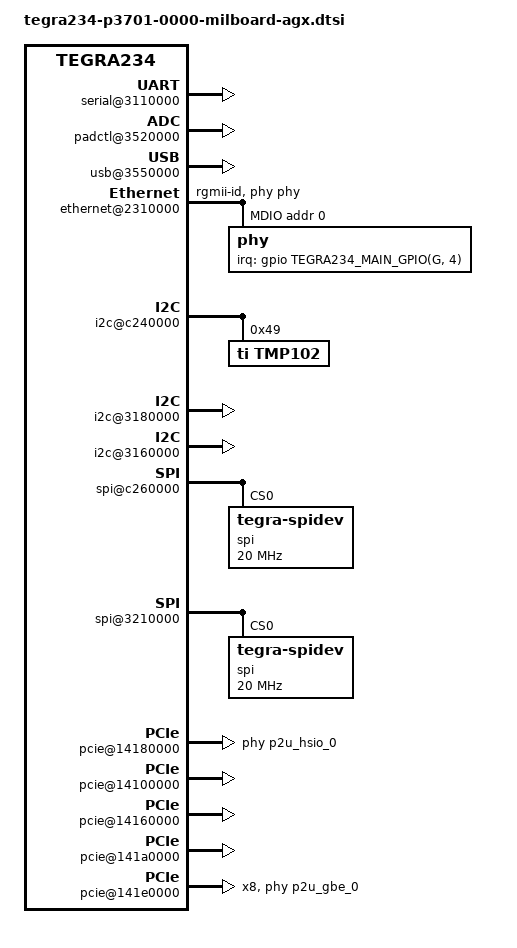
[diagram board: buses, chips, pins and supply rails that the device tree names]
// SPDX-License-Identifier: GPL-2.0

#include <dt-bindings/input/linux-event-codes.h>
#include <dt-bindings/input/gpio-keys.h>

/ {
	regulator-vdd-3v3-pcie {
		gpio = <&gpio TEGRA234_MAIN_GPIO(H, 4) 0>;
		/delete-property/ regulator-boot-on;
	};
	regulator-vdd-12v-pcie {
		/delete-property/ regulator-boot-on;
	};
	regulator@3 {
		regulator-boot-on;
	};

	bus@0 {
		serial@3110000 {
			status = "okay";
			reset-names = "serial";
			clock-names = "serial";
		};

		padctl@3520000 {
			status = "okay";

			ports {
				usb2-0 {
					status = "okay";
					vbus-supply = <&vdd_5v0_sys>;
					mode = "otg";
					usb-role-switch;
					/delete-node/ port;
					connector {
						compatible = "usb-b-connector", "gpio-usb-b-connector";
						label = "micro-USB";
						type = "micro";
						vbus-gpios = <&gpio TEGRA234_MAIN_GPIO(Z, 1) GPIO_ACTIVE_LOW>;
					};
				};

				usb2-1 {
					/delete-node/ port;
				};

				usb3-0 {
					nvidia,usb2-companion = <1>;
					status = "okay";
					/delete-node/ port;
				};

				usb3-1 {
					nvidia,usb2-companion = <0>;
					status = "okay";
					/delete-node/ port;
				};

				usb3-2 {
					nvidia,usb2-companion = <3>;
					status = "okay";
				};
			};
		};

		usb@3550000 {
			status = "okay";
			phys = <&{/bus@0/padctl@3520000/pads/usb2/lanes/usb2-0}>,
			       <&{/bus@0/padctl@3520000/pads/usb3/lanes/usb3-1}>;
			phy-names = "usb2-0", "usb3-1";
		};

		ethernet@6800000 {
			status = "disabled";
		};
		//ethernet@6900000 // already disabled
		//ethernet@6a00000 // already disabled
		//ethernet@6b00000 // already disabled

		ethernet@2310000 { //EQOS
			status = "okay";

			nvidia,mac-addr-idx = <0>;
			nvidia,pause_frames = <1>;
			local-mac-address = [1a 2b 3c 4d 5e 6f];
			nvidia,phy-reset-gpio = <&gpio TEGRA234_MAIN_GPIO(G, 5) 0>;
			phy-mode = "rgmii-id";
			phy-handle = <&phy>;
			nvidia,max-platform-mtu = <16383>; //8000

			mdio {
				compatible = "nvidia,eqos-mdio";
				#address-cells = <1>;
				#size-cells = <0>;

				phy: phy@0 {
					reg = <0>;
					nvidia,phy-rst-pdelay-msec = <224>; /* msec */
					nvidia,phy-rst-duration-usec = <10000>; /* usec */
					interrupt-parent = <&gpio>;
					interrupts = <TEGRA234_MAIN_GPIO(G, 4) IRQ_TYPE_LEVEL_LOW>;
					marvell,copper-mode;
					/* Setup LED[2] as interrupt pin (active low) */
					marvell,reg-init = <0x03 0x12 0x7fff 0x880>;
				};
			};
		};

		i2c@c240000 {
			status = "okay";

			/delete-node/ typec@8;

			tmp102: tmp102@49 { // Temperature Sensor
				compatible = "ti,tmp102";
				reg = <0x49>;
				#thermal-sensor-cells = <0>;
			};
		};

		i2c@3180000 { // Goes to panelboard - before rev 1.21
			status = "okay";
		};

		i2c@3160000 { // Goes to panelboard - since rev-1.21
			status = "okay";
		};

		spi@c260000 { // Goes to panelboard - before rev 1.21
			status = "okay";

			spi@0 {
				status = "okay";
				compatible = "tegra-spidev";
				reg = <0x0>;
				spi-max-frequency = <20000000>;

				controller-data {
					nvidia,enable-hw-based-cs;
					nvidia,rx-clk-tap-delay = <0x10>;
					nvidia,tx-clk-tap-delay = <0x0>;
				};
			};
		};

		spi@3210000 { // Goes to panelboard - since rev-1.21
			status = "okay";

			spi@0 {
				status = "okay";
				compatible = "tegra-spidev";
				reg = <0x0>;
				spi-max-frequency = <20000000>;

				controller-data {
					nvidia,enable-hw-based-cs;
					nvidia,rx-clk-tap-delay = <0x10>;
					nvidia,tx-clk-tap-delay = <0x0>;
				};
			};
		};

		pcie@14180000 { // PCIe x1 (C0)
			status = "okay";
			phys = <&p2u_hsio_0>;
			phy-names = "p2u-0";
		};

		pcie@14100000 { // PCIe x1 (C1)
			status = "okay";
			//nvidia,disable-clock-request; // no CLKREQ signal route from i210 to C1
			nvidia,max-speed = <2>; // i210 is GEN2
		};

		pcie@14160000 { //* PCIe x4 (C4)
			status = "okay";
		};

		pcie@141a0000 { // PCIe x8 (C5)
			status = "okay";
			nvidia,max-speed = <2>;
			/delete-property/ vpcie3v3-supply;
			/delete-property/ vpcie12v-supply;
		};

		pcie@141e0000 { // PCIe x8 (C7)
			status = "okay";
			num-lanes = <8>;
			phys = <&p2u_gbe_0>, <&p2u_gbe_1>, <&p2u_gbe_2>, <&p2u_gbe_3>,
				   <&p2u_gbe_4>, <&p2u_gbe_5>, <&p2u_gbe_6>, <&p2u_gbe_7>;
			phy-names = "p2u-0", "p2u-1", "p2u-2", "p2u-3", "p2u-4",
					"p2u-5", "p2u-6", "p2u-7";
		};

		//pcie-ep@140e0000 // already disabled
		//pcie-ep@141a0000 // already disabled
		//pcie-ep@141c0000 // already disabled
		//pcie-ep@141e0000 // already disabled
		//pcie-ep@14160000 // already disabled
	};
};
